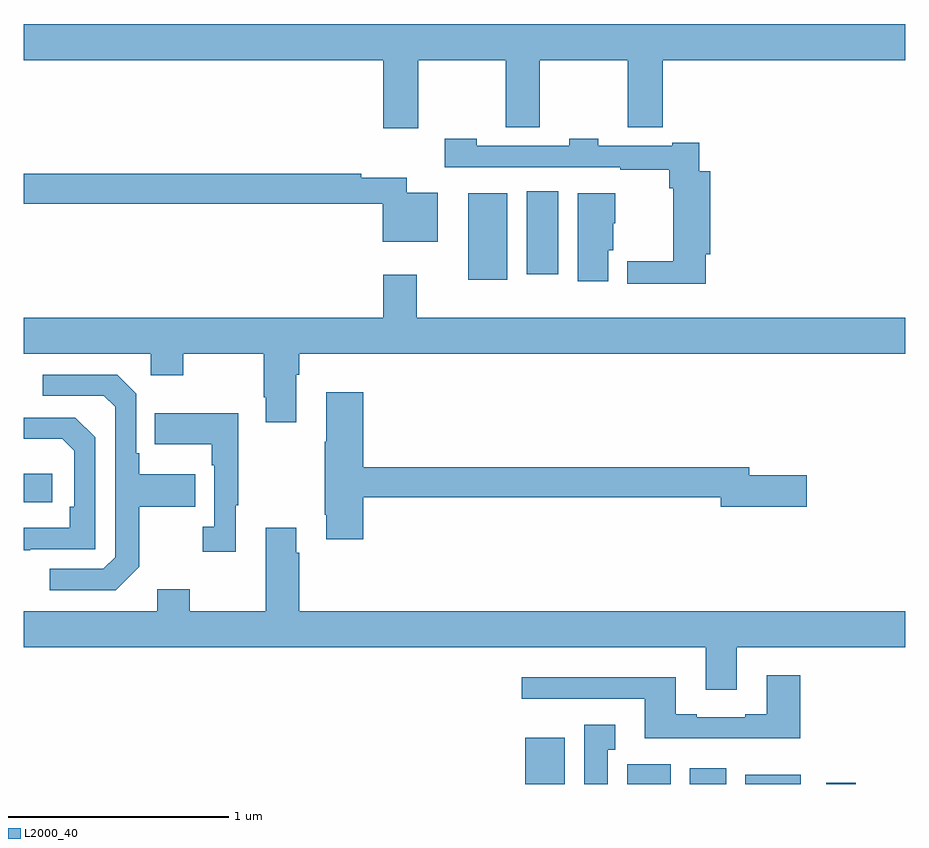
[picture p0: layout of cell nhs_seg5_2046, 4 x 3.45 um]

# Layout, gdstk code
import gdstk
lib = gdstk.Library(unit=1e-6, precision=1e-09)
def R(c, l, rs):  # rectangles x0, y0, x1, y1
    for r in rs: c.add(gdstk.rectangle(r[:2], r[2:], *l))
def P(c, l, *ps):  # polygons
    for p in ps: c.add(gdstk.Polygon(p, *l))
L2000_40 = (2000, 40)

nhs_seg5_2046 = lib.new_cell('nhs_seg5_2046')
R(nhs_seg5_2046, L2000_40, [(233.276,862.799,233.455,863.008), (233.738,862.799,233.935,862.888), (234.023,862.799,234.187,862.87), (234.275,862.799,234.526,862.84), (234.642,862.799,234.775,862.805), (231,864.078,231.13,864.208), (233.018,865.088,233.194,865.48), (233.282,865.113,233.425,865.489)])
P(nhs_seg5_2046, L2000_40, [(232.791,866.084),(233.188,866.084),(233.188,865.78),(233.342,865.78),(233.342,866.084),(233.74,866.084),(233.74,865.78),(233.9,865.78),(233.9,866.084),(235,866.084),(235,866.248),(231,866.248),(231,866.084),(232.631,866.084),(232.631,865.776),(232.791,865.776)],
  [(234.095,865.203),(234.116,865.203),(234.116,865.579),(234.065,865.579),(234.065,865.708),(233.942,865.708),(233.942,865.695),(233.607,865.695),(233.607,865.728),(233.475,865.728),(233.475,865.695),(233.055,865.695),(233.055,865.728),(232.911,865.728),(232.911,865.599),(233.707,865.599),(233.707,865.587),(233.929,865.587),(233.929,865.502),(233.948,865.502),(233.948,865.172),(233.739,865.172),(233.739,865.07),(234.095,865.07)],
  [(232.879,865.483),(232.738,865.483),(232.738,865.551),(232.532,865.551),(232.532,865.568),(231,865.568),(231,865.432),(232.628,865.432),(232.628,865.259),(232.879,865.259)],
  [(233.653,865.221),(233.674,865.221),(233.674,865.344),(233.683,865.344),(233.683,865.48),(233.513,865.48),(233.513,865.08),(233.653,865.08)],
  [(231,864.752),(231.576,864.752),(231.576,864.653),(231.723,864.653),(231.723,864.752),(232.09,864.752),(232.09,864.553),(232.097,864.553),(232.097,864.441),(232.237,864.441),(232.237,864.656),(232.25,864.656),(232.25,864.752),(235,864.752),(235,864.916),(232.783,864.916),(232.783,865.111),(232.631,865.111),(232.631,864.916),(231,864.916)],
  [(231.523,863.785),(231.523,864.058),(231.779,864.058),(231.779,864.205),(231.523,864.205),(231.523,864.301),(231.51,864.301),(231.51,864.57),(231.423,864.657),(231.087,864.657),(231.087,864.561),(231.363,864.561),(231.414,864.51),(231.414,863.829),(231.36,863.775),(231.117,863.775),(231.117,863.679),(231.417,863.679)],
  [(232.541,864.1),(234.164,864.1),(234.164,864.058),(234.553,864.058),(234.553,864.2),(234.292,864.2),(234.292,864.236),(232.541,864.236),(232.541,864.577),(232.373,864.577),(232.373,864.353),(232.366,864.353),(232.366,864.022),(232.373,864.022),(232.373,863.91),(232.541,863.91)],
  [(231.961,864.065),(231.973,864.065),(231.973,864.481),(231.595,864.481),(231.595,864.341),(231.852,864.341),(231.852,864.245),(231.864,864.245),(231.864,863.966),(231.813,863.966),(231.813,863.853),(231.961,863.853)],
  [(231.029,863.865),(231.324,863.865),(231.324,864.372),(231.234,864.462),(231,864.462),(231,864.365),(231.175,864.365),(231.228,864.312),(231.228,864.058),(231.208,864.058),(231.208,863.961),(231,863.961),(231,863.86),(231.029,863.86)],
  [(234.235,863.42),(235,863.42),(235,863.584),(232.25,863.584),(232.25,863.849),(232.237,863.849),(232.237,863.962),(232.097,863.962),(232.097,863.584),(231.753,863.584),(231.753,863.683),(231.605,863.683),(231.605,863.584),(231,863.584),(231,863.42),(234.095,863.42),(234.095,863.226),(234.235,863.226)],
  [(234.524,863.293),(234.371,863.293),(234.371,863.116),(234.275,863.116),(234.275,863.103),(234.055,863.103),(234.055,863.116),(233.959,863.116),(233.959,863.284),(233.259,863.284),(233.259,863.187),(233.819,863.187),(233.819,863.006),(234.524,863.006)],
  [(233.65,862.955),(233.683,862.955),(233.683,863.068),(233.543,863.068),(233.543,862.799),(233.65,862.799)])

lib.write_gds('nhs_seg5_2046.gds')
